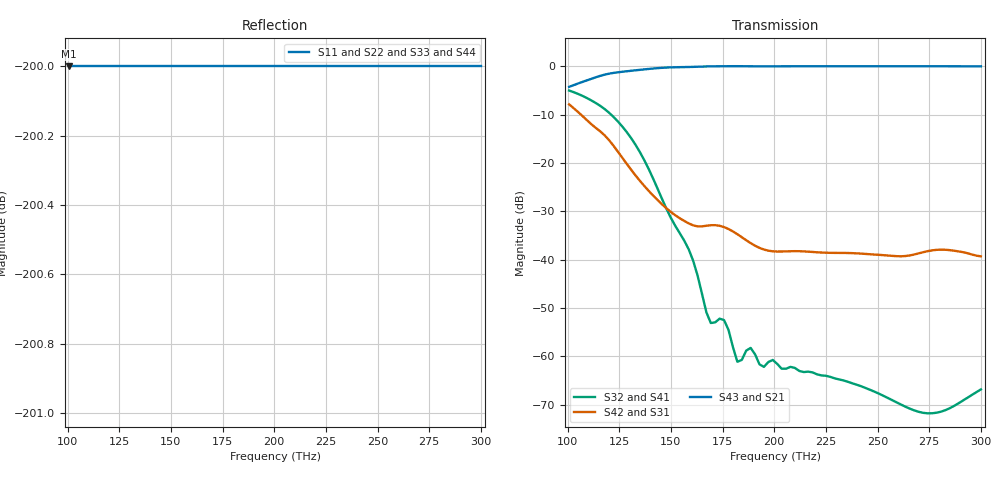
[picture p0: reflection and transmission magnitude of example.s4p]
!This S-parameter file was generated as part of the OIDT. This project was completed as part of research conducted with my major professor and advisor, Prof. Ata Zadehgol, at the Applied and Computational Electromagnetics Signal and Power Integrity (ACEM-SPI) Lab while working toward the Ph.D. in El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
!Created with skrf (http://scikit-rf.org).
# Hz S RI R 50.0
!freq ReS11 ImS11 ReS12 ImS12 ReS13 ImS13
! ReS14 ImS14
! ReS21 ImS21 ReS22 ImS22 ReS23 ImS23
! ReS24 ImS24
! ReS31 ImS31 ReS32 ImS32 ReS33 ImS33
! ReS34 ImS34
! ReS41 ImS41 ReS42 ImS42 ReS43 ImS43
! ReS44 ImS44
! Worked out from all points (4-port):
!   94 points, 100.7 THz to 300 THz, reference 50 ohm
!   strongest paths, dB at 100.7 THz, 150 THz, 201.4 THz, 250.7 THz, 300 THz:
!     S43: -4.3, -0.3, 0.0, 0.0, 0.0
!     S21: -4.3, -0.2, 0.0, 0.0, 0.0
!     S42: -7.9, -30.2, -38.3, -39.0, -39.3
!     S31: -7.9, -30.3, -38.4, -39.1, -39.4
!     S32: -5.0, -31.4, -61.6, -67.7, -66.8
!     S41: -5.0, -31.4, -61.6, -67.8, -66.9
!   lowest |S11| = - dB at 100.7 THz (marker M1), VSWR 1.00, Z = 50 - j3.84e-12 ohm
!   |S11| at or under -10 dB: start of sweep to end of sweep
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1.007149e14  -2.58e-14 -3.84e-14  0.609 0.000849  0.4038 -0.00817  0.5622 0.0158
             0.6091 0.000708  -2.5e-14 -2.93e-14  0.5645 0.0157  0.4046 -0.00798
             0.4022 -0.0067  0.5595 0.0155  -4.54e-14 -3.85e-15  0.6114 0.00101
             0.5617 0.0155  0.4027 -0.00651  0.6115 0.000859  -2.94e-14 1.08e-14
1.328579e14  -1.1e-14 -4.85e-15  0.9074 -0.000578  0.0683 -0.00328  0.1521 0.00179
             0.9072 -0.000608  -1.1e-14 -1.7e-15  0.1525 0.00179  0.0689 -0.00333
             0.0736 -0.00307  0.1538 0.00175  -2.41e-15 -1.98e-15  0.9064 -0.000115
             0.1541 0.00175  0.0741 -0.0031  0.9062 -0.000148  1.64e-15 3.61e-17
1.692867e14  -2.87e-15 1.07e-16  0.9948 0.000565  0.0231 -0.00154  0.00223 5.83e-05
             0.9949 0.000552  -4.99e-15 2.29e-16  0.00225 6.02e-05  0.0234 -0.00155
             0.0224 -0.00146  0.00221 4.25e-05  -8.44e-16 -8.68e-16  0.9953 0.000498
             0.00222 4.5e-05  0.0226 -0.00147  0.9954 0.000487  -3.93e-15 -3.22e-15
1.757153e14  -1.27e-15 -1.03e-16  0.9975 0.000739  0.0218 -0.000771  0.00213 -2.63e-05
             0.9977 0.000705  -1.24e-14 -5.97e-16  0.00212 -2.8e-05  0.022 -0.00075
             0.0215 -0.000749  0.00237 -1.04e-05  -5.86e-15 2.39e-15  0.9984 0.000693
             0.00237 -1.24e-05  0.0217 -0.00073  0.9985 0.000654  -2.1e-14 1.04e-15
1.821439e14  -5.19e-16 -5.05e-17  0.9993 0.000574  0.018 -0.000394  0.00076 -1.11e-05
             0.9994 0.000539  -1.13e-15 2.38e-16  0.000757 -9.71e-06  0.0181 -0.000382
             0.0182 -0.000391  0.000878 -2.65e-05  -4.72e-16 -5.37e-16  0.9997 0.000595
             0.000872 -2.49e-05  0.0183 -0.000378  0.9999 0.000555  3.03e-16 -6.4e-17
2.721444e14  -2.05e-14 1.14e-15  0.9983 0.000131  0.0122 -0.000579  0.000519 -7.62e-06
             0.9983 0.000122  -1.71e-14 -4.01e-15  0.000516 -7.57e-06  0.0123 -0.000582
             0.0117 -0.000629  0.00026 -4.02e-06  -1.07e-14 1.76e-15  0.9984 0.000101
             0.000259 -3.98e-06  0.0119 -0.000634  0.9985 9.51e-05  -2.07e-14 -2.17e-14
3.000017e14  -7.79e-14 2.97e-14  0.9952 0.00032  0.0114 -0.000226  0.000479 -7.37e-06
             0.9953 0.000333  -1.31e-15 3.8e-15  0.000476 -7.27e-06  0.0114 -0.000239
             0.0107 -0.000214  0.000455 -2.84e-06  -2.65e-14 1.4e-14  0.9964 0.000277
             0.000454 -2.78e-06  0.0108 -0.000227  0.9965 0.000284  3.67e-15 -1.39e-14
